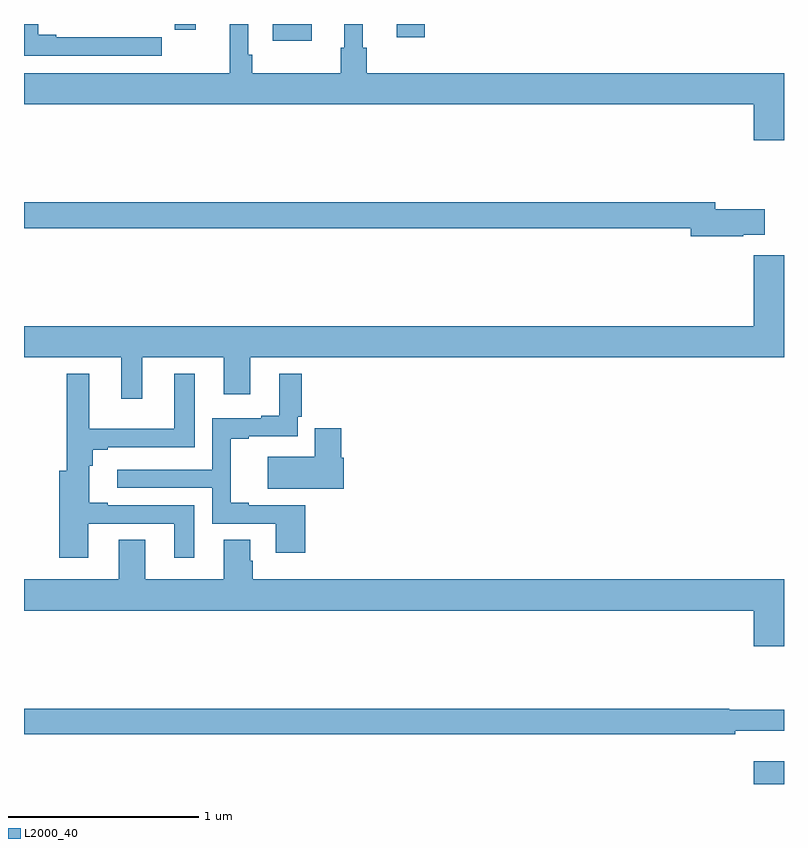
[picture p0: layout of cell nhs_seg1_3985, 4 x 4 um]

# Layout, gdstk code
import gdstk
lib = gdstk.Library(unit=1e-6, precision=1e-09)
def R(c, l, rs):  # rectangles x0, y0, x1, y1
    for r in rs: c.add(gdstk.rectangle(r[:2], r[2:], *l))
def P(c, l, *ps):  # polygons
    for p in ps: c.add(gdstk.Polygon(p, *l))
L2000_40 = (2000, 40)

nhs_seg1_3985 = lib.new_cell('nhs_seg1_3985')
R(nhs_seg1_3985, L2000_40, [(332.84,504.199,333,504.319), (330.308,508.112,330.514,508.199), (330.962,508.128,331.109,508.199), (329.794,508.17,329.903,508.199)])
P(nhs_seg1_3985, L2000_40, [(329.725,508.128),(329.612,508.128),(329.612,508.129),(329.446,508.129),(329.446,508.128),(329.17,508.128),(329.17,508.143),(329.074,508.143),(329.074,508.199),(329,508.199),(329,508.032),(329.725,508.032)],
  [(333,507.94),(330.803,507.94),(330.803,508.074),(330.784,508.074),(330.784,508.199),(330.686,508.199),(330.686,508.074),(330.667,508.074),(330.667,507.94),(330.2,507.94),(330.2,508.036),(330.18,508.036),(330.18,508.199),(330.083,508.199),(330.083,507.94),(329,507.94),(329,507.776),(332.84,507.776),(332.84,507.588),(333,507.588)],
  [(332.786,507.089),(332.899,507.089),(332.899,507.224),(332.638,507.224),(332.638,507.26),(329,507.26),(329,507.124),(332.51,507.124),(332.51,507.082),(332.786,507.082)],
  [(329.623,506.444),(330.05,506.444),(330.05,506.25),(330.19,506.25),(330.19,506.444),(333,506.444),(333,506.983),(332.84,506.983),(332.84,506.608),(329,506.608),(329,506.444),(329.513,506.444),(329.513,506.226),(329.623,506.226)],
  [(330.479,505.665),(330.184,505.665),(330.184,505.678),(330.089,505.678),(330.089,506.016),(330.184,506.016),(330.184,506.028),(330.441,506.028),(330.441,506.131),(330.461,506.131),(330.461,506.359),(330.344,506.359),(330.344,506.137),(330.248,506.137),(330.248,506.124),(329.991,506.124),(329.991,505.854),(329.49,505.854),(329.49,505.758),(329.991,505.758),(329.991,505.569),(330.326,505.569),(330.326,505.416),(330.479,505.416)],
  [(329.338,505.569),(329.792,505.569),(329.792,505.389),(329.896,505.389),(329.896,505.665),(329.44,505.665),(329.44,505.678),(329.344,505.678),(329.344,505.874),(329.362,505.874),(329.362,505.959),(329.44,505.959),(329.44,505.971),(329.899,505.971),(329.899,506.359),(329.792,506.359),(329.792,506.068),(329.344,506.068),(329.344,506.359),(329.226,506.359),(329.226,505.849),(329.186,505.849),(329.186,505.389),(329.338,505.389)],
  [(330.683,505.917),(330.671,505.917),(330.671,506.071),(330.53,506.071),(330.53,505.921),(330.282,505.921),(330.282,505.754),(330.683,505.754)],
  [(333,505.276),(330.203,505.276),(330.203,505.374),(330.19,505.374),(330.19,505.484),(330.05,505.484),(330.05,505.276),(329.638,505.276),(329.638,505.484),(329.498,505.484),(329.498,505.276),(329,505.276),(329,505.112),(332.84,505.112),(332.84,504.924),(333,504.924)],
  [(332.744,504.479),(333,504.479),(333,504.589),(332.711,504.589),(332.711,504.596),(329,504.596),(329,504.46),(332.744,504.46)])

lib.write_gds('nhs_seg1_3985.gds')
